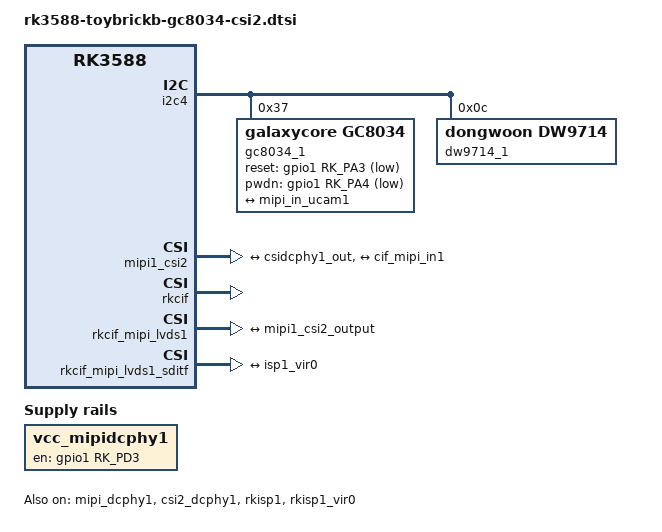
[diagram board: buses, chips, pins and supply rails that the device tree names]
/ {
	vcc_mipidcphy1: vcc-mipidcphy1-regulator {
		compatible = "regulator-fixed";
		gpio = <&gpio1 RK_PD3 GPIO_ACTIVE_HIGH>;
		pinctrl-names = "default";
		pinctrl-0 = <&mipidcphy1_pwr>;
		regulator-name = "vcc_mipidcphy1";
		enable-active-high;
		regulator-always-on;
		regulator-boot-on;
	};

};

&i2c4 {
	status = "okay";
	pinctrl-0 = <&i2c4m1_xfer>;

	gc8034_1: gc8034-1@37 {
		compatible = "galaxycore,gc8034";
		status = "okay";
		reg = <0x37>;
		clocks = <&cru CLK_MIPI_CAMARAOUT_M2>;
		clock-names = "xvclk";
		power-domains = <&power RK3588_PD_VI>;
		reset-gpios = <&gpio1 RK_PA3 GPIO_ACTIVE_LOW>;
		pwdn-gpios = <&gpio1 RK_PA4 GPIO_ACTIVE_LOW>;
		pinctrl-names = "default";
		pinctrl-0 = <&mipim0_camera2_clk>;
		rockchip,camera-module-index = <1>;
		rockchip,camera-module-facing = "back";
		rockchip,camera-module-name = "RK-CMK-8M-2-v1";
		rockchip,camera-module-lens-name = "CK8401";
		lens-focus = <&dw9714_1>;
		port {
			gc8034_out1: endpoint {
				remote-endpoint = <&mipi_in_ucam1>;
				data-lanes = <1 2 3 4>;
			};
		};
	};

	dw9714_1: dw9714-1@c {
		status = "okay";
		compatible = "dongwoon,dw9714";
		reg = <0x0c>;
		rockchip,camera-module-index = <1>;
		rockchip,camera-module-facing = "back";
	};
};

&mipi_dcphy1 {
	status = "okay";
};

&csi2_dcphy1 {
	status = "okay";

	ports {
		#address-cells = <1>;
		#size-cells = <0>;
		port@0 {
			reg = <0>;
			#address-cells = <1>;
			#size-cells = <0>;

			mipi_in_ucam1: endpoint@1 {
				reg = <1>;
				remote-endpoint = <&gc8034_out1>;
				data-lanes = <1 2 3 4>;
			};
		};
		port@1 {
			reg = <1>;
			#address-cells = <1>;
			#size-cells = <0>;

			csidcphy1_out: endpoint@0 {
				reg = <0>;
				remote-endpoint = <&mipi1_csi2_input>;
			};
		};
	};
};

&mipi1_csi2 {
	status = "okay";

	ports {
		#address-cells = <1>;
		#size-cells = <0>;

		port@0 {
			reg = <0>;
			#address-cells = <1>;
			#size-cells = <0>;

			mipi1_csi2_input: endpoint@1 {
				reg = <1>;
				remote-endpoint = <&csidcphy1_out>;
			};
		};

		port@1 {
			reg = <1>;
			#address-cells = <1>;
			#size-cells = <0>;

			mipi1_csi2_output: endpoint@0 {
				reg = <0>;
				remote-endpoint = <&cif_mipi_in1>;
			};
		};
	};
};

&rkcif {
	status = "okay";
};

&rkcif_mmu {
	status = "okay";
};

&rkcif_mipi_lvds1 {
	status = "okay";

	port {
		cif_mipi_in1: endpoint {
			remote-endpoint = <&mipi1_csi2_output>;
		};
	};
};

&rkcif_mipi_lvds1_sditf {
	status = "okay";

	port {
		mipi1_lvds_sditf: endpoint {
			remote-endpoint = <&isp1_vir0>;
		};
	};
};

&rkisp1 {
	status = "okay";
};

&isp1_mmu {
	status = "okay";
};

&rkisp1_vir0 {
	status = "okay";

	port {
		#address-cells = <1>;
		#size-cells = <0>;

		isp1_vir0: endpoint@0 {
			reg = <0>;
			remote-endpoint = <&mipi1_lvds_sditf>;
		};
	};
};

&pinctrl {
	mipidcphy1_pwr: mipidcphy1-pwr {
		rockchip,pins =
			/* camera power en */
			<1 RK_PD3 RK_FUNC_GPIO &pcfg_output_high>;
	};

};
